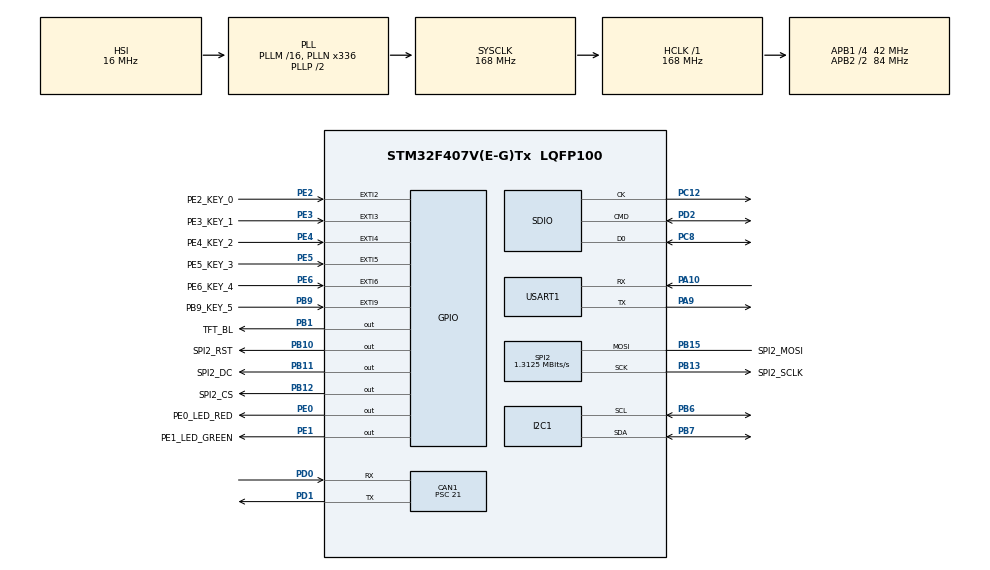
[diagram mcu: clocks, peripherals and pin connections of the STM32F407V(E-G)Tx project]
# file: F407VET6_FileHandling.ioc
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CAN1.BS1=CAN_BS1_2TQ
CAN1.CalculateBaudRate=500000
CAN1.CalculateTimeBit=2000
CAN1.CalculateTimeQuantum=500.0
CAN1.Mode=CAN_MODE_LOOPBACK
CAN1.Prescaler=21
Dma.Request0=SPI2_TX
Dma.Request1=SDIO_RX
Dma.Request2=SDIO_TX
Dma.SDIO_RX.1.Direction=DMA_PERIPH_TO_MEMORY
Dma.SDIO_RX.1.FIFOMode=DMA_FIFOMODE_ENABLE
Dma.SDIO_RX.1.FIFOThreshold=DMA_FIFO_THRESHOLD_FULL
Dma.SDIO_RX.1.Instance=DMA2_Stream3
Dma.SDIO_RX.1.MemBurst=DMA_MBURST_INC4
Dma.SDIO_RX.1.MemDataAlignment=DMA_MDATAALIGN_WORD
Dma.SDIO_RX.1.MemInc=DMA_MINC_ENABLE
Dma.SDIO_RX.1.Mode=DMA_PFCTRL
Dma.SDIO_RX.1.PeriphBurst=DMA_PBURST_INC4
Dma.SDIO_RX.1.PeriphDataAlignment=DMA_PDATAALIGN_WORD
Dma.SDIO_RX.1.PeriphInc=DMA_PINC_DISABLE
Dma.SDIO_RX.1.Priority=DMA_PRIORITY_LOW
Dma.SDIO_TX.2.Direction=DMA_MEMORY_TO_PERIPH
Dma.SDIO_TX.2.FIFOMode=DMA_FIFOMODE_ENABLE
Dma.SDIO_TX.2.FIFOThreshold=DMA_FIFO_THRESHOLD_FULL
Dma.SDIO_TX.2.Instance=DMA2_Stream6
Dma.SDIO_TX.2.MemBurst=DMA_MBURST_INC4
Dma.SDIO_TX.2.MemDataAlignment=DMA_MDATAALIGN_WORD
Dma.SDIO_TX.2.MemInc=DMA_MINC_ENABLE
Dma.SDIO_TX.2.Mode=DMA_PFCTRL
Dma.SDIO_TX.2.PeriphBurst=DMA_PBURST_INC4
Dma.SDIO_TX.2.PeriphDataAlignment=DMA_PDATAALIGN_WORD
Dma.SDIO_TX.2.PeriphInc=DMA_PINC_DISABLE
Dma.SDIO_TX.2.Priority=DMA_PRIORITY_LOW
Dma.SPI2_TX.0.Direction=DMA_MEMORY_TO_PERIPH
Dma.SPI2_TX.0.FIFOMode=DMA_FIFOMODE_DISABLE
Dma.SPI2_TX.0.Instance=DMA1_Stream4
Dma.SPI2_TX.0.MemDataAlignment=DMA_MDATAALIGN_BYTE
Dma.SPI2_TX.0.MemInc=DMA_MINC_ENABLE
Dma.SPI2_TX.0.Mode=DMA_NORMAL
Dma.SPI2_TX.0.PeriphDataAlignment=DMA_PDATAALIGN_BYTE
Dma.SPI2_TX.0.PeriphInc=DMA_PINC_DISABLE
Dma.SPI2_TX.0.Priority=DMA_PRIORITY_VERY_HIGH
I2C1.I2C_Mode=I2C_Fast
Mcu.Family=STM32F4
Mcu.Name=STM32F407V(E-G)Tx
Mcu.Package=LQFP100
NVIC.CAN1_RX0_IRQn=true\:0\:0\:false\:false\:true\:true\:true\:true
NVIC.CAN1_RX1_IRQn=true\:0\:0\:false\:false\:true\:true\:true\:true
NVIC.DMA1_Stream4_IRQn=true\:0\:0\:false\:false\:true\:false\:true\:true
NVIC.DMA2_Stream3_IRQn=true\:0\:0\:false\:false\:true\:false\:true\:true
NVIC.DMA2_Stream6_IRQn=true\:0\:0\:false\:false\:true\:false\:true\:true
NVIC.EXTI2_IRQn=true\:0\:0\:false\:false\:true\:true\:true\:true
NVIC.EXTI3_IRQn=true\:0\:0\:false\:false\:true\:true\:true\:true
NVIC.EXTI4_IRQn=true\:0\:0\:false\:false\:true\:true\:true\:true
NVIC.EXTI9_5_IRQn=true\:0\:0\:false\:false\:true\:true\:true\:true
NVIC.PriorityGroup=NVIC_PRIORITYGROUP_4
NVIC.SDIO_IRQn=true\:0\:0\:false\:false\:true\:true\:true\:true
NVIC.USART1_IRQn=true\:0\:0\:false\:false\:true\:true\:true\:true
PA10.Mode=Asynchronous
PA10.Signal=USART1_RX
PA13.GPIO_Label=TMS
PA13.Mode=Serial_Wire
PA13.Signal=SYS_JTMS-SWDIO
PA14.GPIO_Label=TCK
PA14.Mode=Serial_Wire
PA14.Signal=SYS_JTCK-SWCLK
PA9.Mode=Asynchronous
PA9.Signal=USART1_TX
PB1.GPIO_Label=TFT_BL
PB1.PinState=GPIO_PIN_RESET
PB1.Signal=GPIO_Output
PB10.GPIO_Label=SPI2_RST
PB10.Signal=GPIO_Output
PB11.GPIO_Label=SPI2_DC
PB11.Signal=GPIO_Output
PB12.GPIO_Label=SPI2_CS
PB12.Signal=GPIO_Output
PB13.GPIO_Label=SPI2_SCLK
PB13.Mode=Simplex_Bidirectional_Master
PB13.Signal=SPI2_SCK
PB15.GPIO_Label=SPI2_MOSI
PB15.Mode=Simplex_Bidirectional_Master
PB15.Signal=SPI2_MOSI
PB6.Mode=I2C
PB6.Signal=I2C1_SCL
PB7.Mode=I2C
PB7.Signal=I2C1_SDA
PB9.GPIO_Label=PB9_KEY_5
PB9.GPIO_ModeDefaultEXTI=GPIO_MODE_IT_FALLING
PB9.Signal=GPXTI9
PC10.Signal=SDIO_D2
PC11.Signal=SDIO_D3
PC12.Mode=SD_1_bit
PC12.Signal=SDIO_CK
PC8.Mode=SD_1_bit
PC8.Signal=SDIO_D0
PC9.Signal=SDIO_D1
PD0.Mode=CAN_Activate
PD0.Signal=CAN1_RX
PD1.Mode=CAN_Activate
PD1.Signal=CAN1_TX
PD2.Mode=SD_1_bit
PD2.Signal=SDIO_CMD
PE0.GPIO_Label=PE0_LED_RED
PE0.PinState=GPIO_PIN_SET
PE0.Signal=GPIO_Output
PE1.GPIO_Label=PE1_LED_GREEN
PE1.PinState=GPIO_PIN_SET
PE1.Signal=GPIO_Output
PE2.GPIO_Label=PE2_KEY_0
PE2.GPIO_ModeDefaultEXTI=GPIO_MODE_IT_FALLING
PE2.Signal=GPXTI2
PE3.GPIO_Label=PE3_KEY_1
PE3.GPIO_ModeDefaultEXTI=GPIO_MODE_IT_FALLING
PE3.Signal=GPXTI3
PE4.GPIO_Label=PE4_KEY_2
PE4.GPIO_ModeDefaultEXTI=GPIO_MODE_IT_FALLING
PE4.Signal=GPXTI4
PE5.GPIO_Label=PE5_KEY_3
PE5.GPIO_ModeDefaultEXTI=GPIO_MODE_IT_FALLING
PE5.Signal=GPXTI5
PE6.GPIO_Label=PE6_KEY_4
PE6.GPIO_ModeDefaultEXTI=GPIO_MODE_IT_FALLING
PE6.Signal=GPXTI6
PH0-OSC_IN.Mode=HSE-External-Oscillator
PH0-OSC_IN.Signal=RCC_OSC_IN
PH1-OSC_OUT.Mode=HSE-External-Oscillator
PH1-OSC_OUT.Signal=RCC_OSC_OUT
ProjectManager.HeapSize=0x200
ProjectManager.StackSize=0x400
ProjectManager.TargetToolchain=STM32CubeIDE
RCC.48MHZClocksFreq_Value=48000000
RCC.AHBFreq_Value=168000000
RCC.APB1CLKDivider=RCC_HCLK_DIV4
RCC.APB1Freq_Value=42000000
RCC.APB1TimFreq_Value=84000000
RCC.APB2CLKDivider=RCC_HCLK_DIV2
RCC.APB2Freq_Value=84000000
RCC.APB2TimFreq_Value=168000000
RCC.CortexFreq_Value=168000000
RCC.HCLKFreq_Value=168000000
RCC.HSE_VALUE=16000000
RCC.HSI_VALUE=16000000
RCC.LSE_VALUE=32768
RCC.PLLN=336
RCC.PLLQ=7
RCC.SYSCLKFreq_VALUE=168000000
RCC.SYSCLKSource=RCC_SYSCLKSOURCE_PLLCLK
RCC.VCOOutputFreq_Value=336000000
SPI2.BaudRatePrescaler=SPI_BAUDRATEPRESCALER_32
SPI2.CalculateBaudRate=1.3125 MBits/s
SPI2.Direction=SPI_DIRECTION_1LINE
SPI2.Mode=SPI_MODE_MASTER
SPI2.VirtualType=VM_MASTER
USART1.VirtualMode=VM_ASYNC
VP_FATFS_VS_SDIO.Mode=SDIO
board=custom

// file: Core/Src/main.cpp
/* USER CODE BEGIN Header */
/**
  ******************************************************************************
  * @file           : main.c
  * @brief          : Main program body
  ******************************************************************************
  * @attention
  *
  * Copyright (c) 2024 STMicroelectronics.
  * All rights reserved.
  *
  * This software is licensed under terms that can be found in the LICENSE file
  * in the root directory of this software component.
  * If no LICENSE file comes with this software, it is provided AS-IS.
  *
  ******************************************************************************
  */
/* USER CODE END Header */
#include "main.h"
#include "can.h"
#include "dma.h"
#include "fatfs.h"
#include "i2c.h"
#include "sdio.h"
#include "spi.h"
#include "usart.h"
#include "gpio.h"

/* USER CODE BEGIN Includes */
#include <iostream>
#include <sstream>
#include <vector>
#include "../Lib/DS3231/DS3231.h"
#include "../Lib/ILI9341/ILI9341.h"
#include "../Lib/ILI9341/fonts.h"
#include "../Lib/ILI9341/Image.h"
#include "../Lib/JPGEdecoder/jpgDecoder.h"
#include "../Lib/SerialDebug/UartRingBuffer.h"
#include "../Lib/Button/Button.h"
#include "../Lib/mySDCard/mySDCard.h"
/* USER CODE END Includes */

/* USER CODE BEGIN PTD */
typedef enum {
  P_FREEZE,
  P_OK,
  P_BACK,
  P_UP,
  P_DOWN,
  P_LEFT,
  P_RIGHT,
} user_move_t;

typedef enum {
  APP_SELECTING,
  APP_CANBUS,
  APP_SDCARD,
  APP_SET_DATETIME,
  APP_SET_THEME,
  APP_SIZE = 5,
} application_t;

/* USER CODE END PTD */

/* USER CODE BEGIN PD */
#define POINTER_CUR_POSITION ((Font_11x18.height * rowIndex) + 4)
#define POINTER_PREV_POSITION ((Font_11x18.height * prevRowIndex) + 4)
#define zDEBUG(msg)     do { Uart_sendstring(((std::string(msg)) + "\n").c_str()); } while(0)
#define UPDATE_POINTER  do { lcd->writeString(0, POINTER_PREV_POSITION, "  ", Font_11x18, FontColor, BGColor);  \
                        lcd->writeString(0, POINTER_CUR_POSITION, "->", Font_11x18, FontColor, BGColor); } while(0)

#define DELETE_DIALOG "-----------------------\n  | [L]: Delete [R]: No |\n  -----------------------\n"
#define MENU_UI       "---------SELECT APP----------\n  1. View CANbus\n  2. SDCard\n  3. Set datetime\n  4. Set theme\n"
/* USER CODE END PD */

/* USER CODE BEGIN PV */
uint16_t BGColor = ILI9341_BLACK;
uint16_t FontColor = ILI9341_WHITE;

uint8_t rowIndex = 1;
uint8_t prevRowIndex;
SDCard* file;
ILI9341* lcd;
JpgDecoder* jpgDec;
DS3231* rtc;
Time_t* time;
Button *btn_ok, *btn_up, *btn_down, *btn_left, *btn_right, *btn_back;

/* Application selection ---------------------------------------------------------------*/
application_t eApp = APP_SELECTING;

/* File handle ---------------------------------------------------------------*/
std::string filePath = "";
uint8_t maxPage;
uint8_t lastFileIndex;
uint8_t page = 1;

/* Text handle ---------------------------------------------------------------*/
std::string textFromFile;
uint16_t totalTextLine;
uint16_t lastTextLine = 1;
uint16_t startTextLine = 1;
uint16_t endTextLine = 13;

/* User moves & files handle -------------------------------------------------*/
user_move_t eUserMove = P_FREEZE;
file_type_t fileType = FTYP_DIR;
std::string selectedEntry;
bool buttonPressed = false;

/* USER CODE END PV */

void SystemClock_Config(void);

/* USER CODE BEGIN 0 */
bool jpegRender(int16_t x, int16_t y, uint16_t w, uint16_t h, uint16_t* bitmap) {
  if(y>=lcd->height()) return 0; // 0 - to stop decoding
  lcd->drawImage(x, y, w, h, bitmap);
  return 1; // 1 - to decode next block
}

void vUpdateLCDToSelectedDir(bool update) {
  if(update) {
    lcd->fillScreen(BGColor);
    std::string data;
    file->listEntryOfDir(filePath.c_str());
    file->listFilesOnPage(1, data);
    lcd->writeString(0, 4, data.c_str(), Font_11x18, FontColor, BGColor);
    zDEBUG(data);
  }
}

void vUpdateLCDToNextPage(bool update) {
  if(update) {
    lcd->fillScreen(BGColor);
    std::string data;
    file->listFilesOnPage(page, data);
    lcd->writeString(0, 4, data.c_str(), Font_11x18, FontColor, BGColor);
  }
}

file_type_t vPointerSDFile(user_move_t& um) {
  prevRowIndex = rowIndex;
  bool updateLCD = false;
  switch(um) {
    case P_FREEZE: return FTYP_DIR;
    case P_BACK: {
      if(filePath != "") {
        filePath = filePath.substr(0, filePath.find_last_of('/'));
        file->getPagesAndLastRow(filePath.c_str(), maxPage, lastFileIndex);
        vUpdateLCDToSelectedDir(true);
        rowIndex = 1;
        page = 1;
        UPDATE_POINTER;
      }
      else {
        eApp = APP_SELECTING;
         return FTYP_DIR;
      }
    } break;
    case P_UP: {
      if(rowIndex == 1) {
        if(1 == maxPage) {
          rowIndex = lastFileIndex;
        }
        else {
          page--;
          if(page == 0) {
            page = maxPage;
            rowIndex = lastFileIndex;
          } else rowIndex = 12;
          updateLCD = true;
        }
      } else rowIndex--;
    } break;
    case P_DOWN: {
      if((1 == maxPage) && (rowIndex == lastFileIndex)) {
        rowIndex = 1;
      }
      else if((page == maxPage) && (rowIndex == lastFileIndex)) {
        rowIndex = 1;
        page = 1;
        updateLCD = true;
      }
      else if(rowIndex == 12) {
        rowIndex = 1;
        page++;
        if(page > maxPage) page = 1;
        updateLCD = true;
      } else rowIndex++;
    } break;
    case P_OK: {
      selectedEntry.clear();
      selectedEntry += filePath; // include the path
      fileType = file->checkSelectedFileType(rowIndex, selectedEntry);
      // zDEBUG(selectedEntry);
      um = P_FREEZE;
      if(fileType == FTYP_DIR) {
        rowIndex = 1;
        page = 1;
        std::string rawDir;
        for(auto c : selectedEntry) {
        	if(c != '[' && c != ']') {
        		rawDir += c;
        	}
        }
        filePath.clear();
        filePath = rawDir;
        file->getPagesAndLastRow(filePath.c_str(), maxPage, lastFileIndex);
        vUpdateLCDToSelectedDir(true);
        UPDATE_POINTER;
      }
      return fileType;
    }
    case P_LEFT: { // If user is browsing files then hit button left, ask them whether they want to delete the selected file
      lcd->writeString(20, (Font_11x18.height)*(rowIndex+1.25), DELETE_DIALOG, Font_11x18, FontColor, BGColor);
      bool deleteFile = false;
      eUserMove = P_FREEZE;
      while(!deleteFile) {
        btn_back->handleButton();
        if(eUserMove == P_BACK) {
          if(filePath != "") {
          filePath = filePath.substr(0, filePath.find_last_of('/'));
          file->getPagesAndLastRow(filePath.c_str(), maxPage, lastFileIndex);
          vUpdateLCDToSelectedDir(true);
          rowIndex = 1;
          page = 1;
          UPDATE_POINTER;
          }
          else {
            eApp = APP_SELECTING;
          }
          um = P_FREEZE;
          return FTYP_DIR;
        }
        btn_left->handleButton();
        btn_right->handleButton();
        if(eUserMove == P_LEFT) {
          selectedEntry.clear();
          selectedEntry += filePath; // include the path
          file->checkSelectedFileType(rowIndex, selectedEntry);
          file->deleteFile(selectedEntry.c_str());
          lcd->fillScreen(BGColor);
          file->getPagesAndLastRow(filePath.c_str(), maxPage, lastFileIndex);
          vUpdateLCDToSelectedDir(true);
          rowIndex = 1;
          page = 1;
          deleteFile = true;
          UPDATE_POINTER;
          um = P_FREEZE;
          eUserMove = P_FREEZE;
          return FTYP_DIR;
        }
        else if(eUserMove == P_RIGHT) {
          lcd->fillScreen(BGColor);
          file->getPagesAndLastRow(filePath.c_str(), maxPage, lastFileIndex);
          vUpdateLCDToSelectedDir(true);
          rowIndex = 1;
          page = 1;
          UPDATE_POINTER;
          um = P_FREEZE;
          eUserMove = P_FREEZE;
          return FTYP_DIR;
        }
      }
    }
    case P_RIGHT: return FTYP_DIR;
  }
  zDEBUG(std::to_string(rowIndex));
  vUpdateLCDToNextPage(updateLCD);
  UPDATE_POINTER;
  um = P_FREEZE;
  return FTYP_DIR;
}

void vHandleFileBrowse(user_move_t um) {
  switch(fileType) {
    case FTYP_DIR: { // if user is browsing directory
      switch(vPointerSDFile(um)) {
        case FTYP_DIR: {
          // vPointerSDFile will handle browsing directory
          return;
        }
        case FTYP_TXT: { //if user select text file
          totalTextLine = 0;
          textFromFile.clear();
          file->readTextFromFile(selectedEntry, textFromFile, 1024, 1, 14);
          if(textFromFile.size() > 0) {
            std::stringstream ss(textFromFile);
            std::string line;
            while(getline(ss, line)) {
              totalTextLine++;
            }
            lcd->fillScreen(BGColor);
            lcd->writeString(0, 4, textFromFile.c_str(), Font_11x18, FontColor, BGColor);
          }
        } break;
        case FTYP_JPG: {
          jpgDec->show(0, 0, selectedEntry.c_str());
        } break;
      }
    }
    break;
    case FTYP_TXT: { // if user is reading text file
      switch(um) {
        case P_LEFT: break;
        case P_RIGHT: break;
        case P_OK:      break;
        case P_FREEZE:  break;
        case P_UP: {
          if(startTextLine > 1) {
            startTextLine-=13;
            endTextLine-=13;
            textFromFile.clear();
            file->readTextFromFile(selectedEntry, textFromFile, 1024, startTextLine, endTextLine);
            std::stringstream ss(textFromFile);
            std::string line;
            std::string showText;
            uint8_t lineCount = 0;
            while(getline(ss, line) && lineCount < endTextLine) {
                showText += line + "\n";
                lineCount++;
            }
            lcd->fillScreen(BGColor);
            lcd->writeString(0, 4, showText.c_str(), Font_11x18, FontColor, BGColor);
          }
        } break;
        case P_DOWN: {
          std::string check; // check if can scroll more
          file->readTextFromFile(selectedEntry, check, 1024, startTextLine+13, endTextLine+13);
          if(check.size() <= 0) {
            return;
          }
          else {
            startTextLine+=13;
            endTextLine+=13;
            textFromFile.clear();
            file->readTextFromFile(selectedEntry, textFromFile, 1024, startTextLine, endTextLine);
            std::stringstream ss(textFromFile);
            std::string line;
            std::string showText;
            uint8_t lineCount = 0;
            while(getline(ss, line) && lineCount < 13) {
            	showText += line + "\n";
            	lineCount++;
            }
            lcd->fillScreen(BGColor);
            lcd->writeString(0, 4, showText.c_str(), Font_11x18, FontColor, BGColor);
          }
        } break;
        case P_BACK: {
          fileType = FTYP_DIR;
          startTextLine = 1;
          endTextLine = 12;
          vUpdateLCDToNextPage(true);
          UPDATE_POINTER;
          break;
        }
      }
    }
    break;
    case FTYP_JPG: { // if user is viewing jpg file
      switch(um) {
        case P_LEFT: break;
        case P_RIGHT: break;
        case P_OK:      break;
        case P_FREEZE:  break;
        case P_UP:      break;
        case P_DOWN:    break;
        case P_BACK: {
          fileType = FTYP_DIR;
          vUpdateLCDToNextPage(true);
          UPDATE_POINTER;
          break;
        }
      }
    }
    break;
  }
}

void buttonCb(uint8_t id, Button_event_state_t e) {
	if(id == btn_ok->buttonId) {
		switch(e) {
		case BUTTON_RELEASED:
			zDEBUG("Button OK released!");
      buttonPressed = true;
      eUserMove = P_OK;
			break;
		default: break;
		}
	}
	else if(id == btn_up->buttonId) {
		switch(e) {
		case BUTTON_RELEASED:
      zDEBUG("Button UP released!");
      buttonPressed = true;
      eUserMove = P_UP;
			break;
		default: break;
		}
	}
	else if(id == btn_down->buttonId) {
		switch(e) {
		case BUTTON_RELEASED:
      zDEBUG("Button DOWN released!");
      buttonPressed = true;
      eUserMove = P_DOWN;
			break;
		default: break;
		}
	}
  else if(id == btn_back->buttonId) {
    switch(e) {
    case BUTTON_RELEASED:
      zDEBUG("Button BACK released!");
      buttonPressed = true;
      eUserMove = P_BACK;
      break;
    default: break;
    }
  }
  else if(id == btn_left->buttonId) {
    switch(e) {
    case BUTTON_RELEASED:
      zDEBUG("Button LEFT released!");
      buttonPressed = true;
      eUserMove = P_LEFT;
      break;
    default: break;
    }
  }
  else if(id == btn_right->buttonId) {
    switch(e) {
    case BUTTON_RELEASED:
      zDEBUG("Button RIGHT released!");
      buttonPressed = true;
      eUserMove = P_RIGHT;
      break;
    default: break;
    }
  }
}

void vShowMenu(void) {
  lcd->fillScreen(BGColor);
  std::string menu = MENU_UI;
  lcd->writeString(0, 4, menu.c_str(), Font_11x18, FontColor, BGColor);
  rowIndex = 1;
  UPDATE_POINTER;
}

void vPointerSelectApp(user_move_t& um) {
  prevRowIndex = rowIndex;
  switch(um) {
    case P_LEFT: break;
    case P_RIGHT: break;
    case P_FREEZE: return;
    case P_BACK: {
      // eApp = APP_SELECTING;
      // vSelectingApp();
    } break;
    case P_UP: {
      if(rowIndex == 1) rowIndex = APP_SIZE;
      else rowIndex--;
    } break;
    case P_DOWN: {
      if(rowIndex == APP_SIZE) rowIndex = 1;
      else rowIndex++;
    } break;
    case P_OK: {
      switch(rowIndex) {
        case 1: {
          eApp = APP_CANBUS;
          um = P_FREEZE;
          return;
        }
        case 2: {
          eApp = APP_SDCARD;
          um = P_FREEZE;
          return;
        }
        case 3: {
          eApp = APP_SET_DATETIME;
          um = P_FREEZE;
          return;
        }
        case 4: {
          eApp = APP_SET_THEME;
          um = P_FREEZE;
          return;
        }
      }
    } break;
  }
  UPDATE_POINTER;
  um = P_FREEZE;
}

void vAppSDCard(void) {
  file = new SDCard();
  file->getPagesAndLastRow(filePath.c_str(), maxPage, lastFileIndex);
  rowIndex = 1;
  { // debug
    std::string data;
    file->scanFiles(filePath.c_str(), data);
    zDEBUG(data);
  }
  vUpdateLCDToSelectedDir(true);
  UPDATE_POINTER;

  { // debug
    std::string data;
    file->getFilesMap(data);
    zDEBUG(data);
  }
  while(eApp == APP_SDCARD) {
    btn_left->handleButton();
    btn_ok->handleButton();
    btn_up->handleButton();
    btn_down->handleButton();
    btn_right->handleButton();
    btn_back->handleButton();
    if(buttonPressed) {
      buttonPressed = false;
      vHandleFileBrowse(eUserMove);
    }
  }
  delete file;
  file = nullptr;
}

void vAppCANBus(void) {
  lcd->fillScreen(BGColor);
  HAL_CAN_Start(&hcan1);
  HAL_CAN_ActivateNotification(&hcan1, CAN_IT_RX_FIFO0_MSG_PENDING);
  TxHeader.DLC = 8;
  TxHeader.ExtId = 0;
  TxHeader.IDE = CAN_ID_STD;
  TxHeader.RTR = CAN_RTR_DATA;
  TxHeader.StdId = 0x407;
  TxHeader.TransmitGlobalTime = DISABLE;

  uint32_t TxMailbox;
  uint8_t CANTxData[8] = {0};
  time = new Time_t {0};
  rtc = new DS3231(hi2c1);
  file = new SDCard();

  uint8_t i = 10;
  uint8_t j = 1;
  uint32_t interval = 0;
  while(eApp == APP_CANBUS) {
    btn_back->handleButton();
    if(eUserMove == P_BACK) {
      eApp = APP_SELECTING;
      /* reset CANRxData */
      for(uint8_t i = 0; i < 8; i++) {
        CANRxData[i] = 0;
      }
      delete file;
      file = nullptr;
      delete time;
      time = nullptr;
      delete rtc;
      rtc = nullptr;
      return;
    }
    if(HAL_GetTick() - interval >= 1000) {
      interval = HAL_GetTick();
      rtc->getDateTime(time);
    	std::string time_str;
    	time_str += std::to_string(time->Hour);
    	time_str += " : ";
    	time_str += std::to_string(time->Min);
    	time_str += " : ";
    	time_str += std::to_string(time->Sec);
    	CANTxData[0] = ++i;
    	CANTxData[1] = ++j;
    	HAL_CAN_AddTxMessage(&hcan1, &TxHeader, CANTxData, &TxMailbox);

    	std::string CAN_label = "CAN data received:";
    	std::string CAN_data1 = "data0: ";
    	CAN_data1 += std::to_string(CANRxData[0]);
    	std::string CAN_data2 = "data1: ";
    	CAN_data2 += std::to_string(CANRxData[1]);
    	lcd->writeString(0, 4, time_str.c_str(), Font_11x18, FontColor, BGColor);
    	lcd->writeString(0, (Font_11x18.height)+4, CAN_label.c_str(), Font_11x18, FontColor, BGColor);
    	lcd->writeString(0, ((Font_11x18.height)*2)+4, CAN_data1.c_str(), Font_11x18, FontColor, BGColor);
    	lcd->writeString(0, ((Font_11x18.height)*3)+4, CAN_data2.c_str(), Font_11x18, FontColor, BGColor);
      std::string strDT;

      rtc->getStringDateTime(strDT);
      strDT += " data1: "; strDT += std::to_string(CANRxData[0]); strDT += " data2:"; strDT += std::to_string(CANRxData[1]); strDT += "\n";
      file->writeToFile("CANBusdata.txt", strDT);
    }
  }
}

void vAppSetDateTime(void) {
  lcd->fillScreen(BGColor);
  std::map<uint8_t, std::string> hour = {{0, "00"}, {1, "01"}, {2, "02"}, {3, "03"}, {4, "04"}, {5, "05"}, {6, "06"}, {7, "07"}, {8, "08"}, {9, "09"}, {10, "10"}, {11, "11"}, {12, "12"},
                                        {13, "13"}, {14, "14"}, {15, "15"}, {16, "16"}, {17, "17"}, {18, "18"}, {19, "19"}, {20, "20"}, {21, "21"}, {22, "22"}, {23, "23"}};
  std::map<uint8_t, std::string> sec_min = {{0, "00"}, {1, "01"}, {2, "02"}, {3, "03"}, {4, "04"}, {5, "05"}, {6, "06"}, {7, "07"}, {8, "08"}, {9, "09"}, {10, "10"}, {11, "11"}, {12, "12"},
                                        {13, "13"}, {14, "14"}, {15, "15"}, {16, "16"}, {17, "17"}, {18, "18"}, {19, "19"}, {20, "20"}, {21, "21"}, {22, "22"}, {23, "23"}, {24, "24"}, {25, "25"},
                                        {26, "26"}, {27, "27"}, {28, "28"}, {29, "29"}, {30, "30"}, {31, "31"}, {32, "32"}, {33, "33"}, {34, "34"}, {35, "35"}, {36, "36"}, {37, "37"}, {38, "38"},
                                        {39, "39"}, {40, "40"}, {41, "41"}, {42, "42"}, {43, "43"}, {44, "44"}, {45, "45"}, {46, "46"}, {47, "47"}, {48, "48"}, {49, "49"}, {50, "50"}, {51, "51"},
                                        {52, "52"}, {53, "53"}, {54, "54"}, {55, "55"}, {56, "56"}, {57, "57"}, {58, "58"}, {59, "59"}};
  std::map<uint8_t, std::string> date = {{1, "01"}, {2, "02"}, {3, "03"}, {4, "04"}, {5, "05"}, {6, "06"}, {7, "07"}, {8, "08"}, {9, "09"}, {10, "10"}, {11, "11"}, {12, "12"}, {13, "13"},
                                        {14, "14"}, {15, "15"}, {16, "16"}, {17, "17"}, {18, "18"}, {19, "19"}, {20, "20"}, {21, "21"}, {22, "22"}, {23, "23"}, {24, "24"}, {25, "25"}, {26, "26"},
                                        {27, "27"}, {28, "28"}, {29, "29"}, {30, "30"}, {31, "31"}};
  std::map<uint8_t, std::string> month = {{1, "01"}, {2, "02"}, {3, "03"}, {4, "04"}, {5, "05"}, {6, "06"}, {7, "07"}, {8, "08"}, {9, "09"}, {10, "10"}, {11, "11"}, {12, "12"}};
  std::map<uint8_t, std::string> year = {{24, "2024"} , {25, "2025"}, {26, "2026"}, {27, "2027"}, {28, "2028"}, {29, "2029"}, {30, "2030"}, {31, "2031"}, {32, "2032"}, {33, "2033"},
                                        {34, "2034"}, {35, "2035"}, {36, "2036"}, {37, "2037"}, {38, "2038"}, {39, "2039"}, {40, "2040"}, {41, "2041"}, {42, "2042"}, {43, "2043"}, {44, "2044"},
                                        {45, "2045"}};
  std::map<uint8_t, std::string> dow = {{1, "Mon"}, {2, "Tue"}, {3, "Wed"}, {4, "Thu"}, {5, "Fri"}, {6, "Sat"}, {7, "Sun"}};

#define DOW_POSX    (40)
#define HOUR_POSX   (unsigned char)(DOW_POSX + Font_16x26.width*4)
#define MINUTE_POSX (unsigned char)(HOUR_POSX + Font_16x26.width*3)
#define SECOND_POSX (unsigned char)(MINUTE_POSX + Font_16x26.width*3)
#define DATE_POSX   (unsigned char)(DOW_POSX + Font_16x26.width)
#define MONTH_POSX  (unsigned char)(DATE_POSX + Font_16x26.width*3)
#define YEAR_POSX   (unsigned char)(MONTH_POSX + Font_16x26.width*3)

#define DOW_POSY    (unsigned char)(Font_16x26.height+4)
#define HOUR_POSY   DOW_POSY
#define MINUTE_POSY DOW_POSY
#define SECOND_POSY DOW_POSY
#define DATE_POSY   (unsigned char)(DOW_POSY + (Font_16x26.height+4))
#define MONTH_POSY  DATE_POSY
#define YEAR_POSY   DATE_POSY

#define FLASH_SELECTION(x, y, str, blank) (flash ? lcd->writeString(x, y, str.c_str(), Font_16x26, FontColor, BGColor) : lcd->writeString(x, y, blank.c_str(), Font_16x26, FontColor, BGColor))

  typedef enum {
    SEL_DOW,
    SEL_HOUR,
    SEL_MINUTE,
    SEL_SECOND,
    SEL_DATE,
    SEL_MONTH,
    SEL_YEAR,
  } selecting_obj_t;

  rtc = new DS3231(hi2c1);
  Time_t* pTimeTemp = new Time_t{0};
  rtc->getDateTime(pTimeTemp);
  uint32_t interval = 0;
  bool flash = false;
  uint16_t xPos = DOW_POSX;
  uint16_t yPos = DOW_POSY;
  std::vector<uint8_t> vXPos = {DOW_POSX, HOUR_POSX, MINUTE_POSX, SECOND_POSX, DATE_POSX, MONTH_POSX, YEAR_POSX};
  std::vector<uint8_t> vYPos = {DOW_POSY, HOUR_POSY, MINUTE_POSY, SECOND_POSY, DATE_POSY, MONTH_POSY, YEAR_POSY};
  std::map<uint8_t, std::string> mpStr = {{SEL_DOW, dow[pTimeTemp->DaysOfWeek]}, {SEL_HOUR, hour[pTimeTemp->Hour]}, {SEL_MINUTE, sec_min[pTimeTemp->Min]}, {SEL_SECOND, sec_min[pTimeTemp->Sec]}, {SEL_DATE, date[pTimeTemp->Date]}, {SEL_MONTH, month[pTimeTemp->Month]}, {SEL_YEAR, year[pTimeTemp->Year]}};
  uint8_t i = 0;
  std::string str = dow[pTimeTemp->DaysOfWeek];
  std::string blank = "   ";
  lcd->writeString(0, 4, "Set date and time", Font_16x26, FontColor, BGColor);
  lcd->writeString(DOW_POSX, DOW_POSY, dow[pTimeTemp->DaysOfWeek].c_str(), Font_16x26, FontColor, BGColor);
  lcd->writeString(HOUR_POSX, HOUR_POSY, (hour[pTimeTemp->Hour] + ":").c_str(), Font_16x26, FontColor, BGColor);
  lcd->writeString(MINUTE_POSX, MINUTE_POSY, (sec_min[pTimeTemp->Min] + ":").c_str(), Font_16x26, FontColor, BGColor);
  lcd->writeString(SECOND_POSX, SECOND_POSY, sec_min[pTimeTemp->Sec].c_str(), Font_16x26, FontColor, BGColor);
  lcd->writeString(DATE_POSX, DATE_POSY, (date[pTimeTemp->Date] + "-").c_str(), Font_16x26, FontColor, BGColor);
  lcd->writeString(MONTH_POSX, MONTH_POSY, (month[pTimeTemp->Month] + "-").c_str(), Font_16x26, FontColor, BGColor);
  lcd->writeString(YEAR_POSX, YEAR_POSY, year[pTimeTemp->Year].c_str(), Font_16x26, FontColor, BGColor);
  while(eApp == APP_SET_DATETIME) {
    btn_back->handleButton();
    if(eUserMove == P_BACK) {
      eApp = APP_SELECTING;
      delete pTimeTemp;
      pTimeTemp = nullptr;
      delete rtc;
      rtc = nullptr;
      return;
    }
    if(HAL_GetTick() - interval >= 500) {
      interval = HAL_GetTick();
      flash = !flash;
      FLASH_SELECTION(xPos, yPos, str, blank);
    }
    btn_ok->handleButton();
    btn_left->handleButton();
    btn_right->handleButton();
    btn_up->handleButton();
    btn_down->handleButton();

    if (eUserMove != P_FREEZE) {
      interval = 0;
      switch (eUserMove) {
        case P_BACK:    break;
        case P_FREEZE:  break;
        case P_OK: {
          rtc->setDateTime(pTimeTemp);
          lcd->writeString(40, 120, "SAVED!", Font_16x26, FontColor, BGColor);
        } break;
        case P_LEFT : {
          lcd->writeString(vXPos[i], vYPos[i], mpStr[i].c_str(), Font_16x26, FontColor, BGColor);
          i == 0 ? i = 6 : --i;
          str = mpStr[i];
        } break;
        case P_RIGHT: {
          lcd->writeString(vXPos[i], vYPos[i], mpStr[i].c_str(), Font_16x26, FontColor, BGColor);
          i == 6 ? i = 0 : ++i;
          str = mpStr[i];
        } break;
        case P_UP: {
          switch(i) {
            case SEL_DOW: {
                xPos = DOW_POSX;
                yPos = DOW_POSY;
                ++(pTimeTemp->DaysOfWeek);
                if (pTimeTemp->DaysOfWeek == 8) pTimeTemp->DaysOfWeek = 1;
                str = dow[pTimeTemp->DaysOfWeek];
              } break;
            case SEL_HOUR: {
                xPos = HOUR_POSX;
                yPos = HOUR_POSY;
                ++(pTimeTemp->Hour);
                if (pTimeTemp->Hour == 24) pTimeTemp->Hour = 0;
                str = hour[pTimeTemp->Hour];
            } break;
            case SEL_MINUTE: {
                xPos = MINUTE_POSX;
                yPos = MINUTE_POSY;
                ++(pTimeTemp->Min);
                if (pTimeTemp->Min == 60) pTimeTemp->Min = 0;
                str = sec_min[pTimeTemp->Min];
            } break;
            case SEL_SECOND: {
                xPos = SECOND_POSX;
                yPos = SECOND_POSY;
                ++(pTimeTemp->Sec);
                if (pTimeTemp->Sec == 60) pTimeTemp->Sec = 0;
                str = sec_min[pTimeTemp->Sec];
            } break;
            case SEL_DATE: {
                xPos = DATE_POSX;
                yPos = DATE_POSY;
                ++(pTimeTemp->Date);
                if (pTimeTemp->Date == 32) pTimeTemp->Date = 1;
                str = date[pTimeTemp->Date];
            } break;
            case SEL_MONTH: {
                xPos = MONTH_POSX;
                yPos = MONTH_POSY;
                ++(pTimeTemp->Month);
                if (pTimeTemp->Month == 13) pTimeTemp->Month = 1;
                str = month[pTimeTemp->Month];
            } break;
            case SEL_YEAR: {
                xPos = YEAR_POSX;
                yPos = YEAR_POSY;
                ++(pTimeTemp->Year);
                if (pTimeTemp->Year == 46) pTimeTemp->Year = 24;
                str = year[pTimeTemp->Year];
            } break;
          }
        } break;
        case P_DOWN: {
          switch(i) {
            case SEL_DOW: {
                xPos = DOW_POSX;
                yPos = DOW_POSY;
                --(pTimeTemp->DaysOfWeek);
                if (pTimeTemp->DaysOfWeek == 0) pTimeTemp->DaysOfWeek = 7;
                str = dow[pTimeTemp->DaysOfWeek];
              } break;
            case SEL_HOUR: {
                xPos = HOUR_POSX;
                yPos = HOUR_POSY;
                --(pTimeTemp->Hour);
                if (pTimeTemp->Hour == 0) pTimeTemp->Hour = 23;
                str = hour[pTimeTemp->Hour];
            } break;
            case SEL_MINUTE: {
                xPos = MINUTE_POSX;
                yPos = MINUTE_POSY;
                --(pTimeTemp->Min);
                if (pTimeTemp->Min == 0) pTimeTemp->Min = 59;
                str = sec_min[pTimeTemp->Min];
            } break;
            case SEL_SECOND: {
                xPos = SECOND_POSX;
                yPos = SECOND_POSY;
                --(pTimeTemp->Sec);
                if (pTimeTemp->Sec == 0) pTimeTemp->Sec = 59;
                str = sec_min[pTimeTemp->Sec];
            } break;
            case SEL_DATE: {
                xPos = DATE_POSX;
                yPos = DATE_POSY;
                --(pTimeTemp->Date);
                if (pTimeTemp->Date == 0) pTimeTemp->Date = 31;
                str = date[pTimeTemp->Date];
            } break;
            case SEL_MONTH: {
                xPos = MONTH_POSX;
                yPos = MONTH_POSY;
                --(pTimeTemp->Month);
                if (pTimeTemp->Month == 0) pTimeTemp->Month = 12;
                str = month[pTimeTemp->Month];
            } break;
            case SEL_YEAR: {
                xPos = YEAR_POSX;
                yPos = YEAR_POSY;
                --(pTimeTemp->Year);
                if (pTimeTemp->Year == 23) pTimeTemp->Year = 45;
                str = year[pTimeTemp->Year];
            } break;
          }
        } break;
        default:
          break;
      }
      xPos = vXPos[i];
      yPos = vYPos[i];
      blank.resize(str.size(), ' ');
      mpStr[i] = str;
      eUserMove = P_FREEZE;
    }
  }
}

void vAppSetTheme(void) {
  rowIndex = 1;
  prevRowIndex = rowIndex;
  lcd->fillScreen(BGColor);
  lcd->writeString(0, 4, "  Set theme", Font_16x26, FontColor, BGColor);
  lcd->writeString(0, Font_16x26.height + 4, "  1. Dark", Font_16x26, FontColor, BGColor);
  lcd->writeString(0, (Font_16x26.height)*2 + 4, "  2. Light", Font_16x26, FontColor, BGColor);
  lcd->writeString(0, (Font_16x26.height)*3 + 4, "  3. Color", Font_16x26, FontColor, BGColor);
  lcd->writeString(0, (Font_16x26.height)*4 + 4, "  4. Sport", Font_16x26, FontColor, BGColor);
  lcd->writeString(0, (Font_16x26.height * rowIndex) + 4, "->", Font_16x26, FontColor, BGColor);
  while(eApp == APP_SET_THEME) {
    btn_back->handleButton();
    if(eUserMove == P_BACK) {
      eApp = APP_SELECTING;
      return;
    }
    prevRowIndex = rowIndex;
    btn_up->handleButton();
    btn_down->handleButton();
    btn_ok->handleButton();
    switch(eUserMove) {
      case P_UP: {
        if(rowIndex == 1) rowIndex = 4;
        else rowIndex--;
      } break;
      case P_DOWN: {
        if(rowIndex == 4) rowIndex = 1;
        else rowIndex++;
      } break;
      case P_OK: {
        switch(rowIndex) {
          case 1: {
            BGColor = ILI9341_BLACK;
            FontColor = ILI9341_WHITE;
          } break;
          case 2: {
            BGColor = ILI9341_WHITE;
            FontColor = ILI9341_BLACK;
          } break;
          case 3: {
            BGColor = ILI9341_BLUE;
            FontColor = ILI9341_WHITE;
          } break;
          case 4: {
            BGColor = ILI9341_BLACK;
            FontColor = ILI9341_RED;
          } break;
        }
      } break;
    }
    if(eUserMove == P_OK) {
      lcd->fillScreen(BGColor);
      lcd->writeString(0, 4, "  Set theme", Font_16x26, FontColor, BGColor);
      lcd->writeString(0, Font_16x26.height + 4, "  1. Dark", Font_16x26, FontColor, BGColor);
      lcd->writeString(0, (Font_16x26.height)*2 + 4, "  2. Light", Font_16x26, FontColor, BGColor);
      lcd->writeString(0, (Font_16x26.height)*3 + 4, "  3. Color", Font_16x26, FontColor, BGColor);
      lcd->writeString(0, (Font_16x26.height)*4 + 4, "  4. Sport", Font_16x26, FontColor, BGColor);
    }
    if(eUserMove != P_FREEZE) {
      lcd->writeString(0, (Font_16x26.height * prevRowIndex) + 4, "  ", Font_16x26, FontColor, BGColor);
      lcd->writeString(0, (Font_16x26.height * rowIndex) + 4, "->", Font_16x26, FontColor, BGColor);
    }
    eUserMove = P_FREEZE;
  }
}
/* USER CODE END 0 */

extern "C" int main(void) {

  /* MCU Configuration--------------------------------------------------------*/

  /* Reset of all peripherals, Initializes the Flash interface and the Systick. */
  HAL_Init();

  /* Configure the system clock */
  SystemClock_Config();

  /* Initialize all configured peripherals */
  MX_GPIO_Init();
  MX_DMA_Init();
  MX_I2C1_Init();
  MX_SPI2_Init();
  MX_CAN1_Init();
  MX_SDIO_SD_Init();
  MX_FATFS_Init();
  MX_USART1_UART_Init();
  /* USER CODE BEGIN 2 */
  Ringbuffer_init();
  lcd = new ILI9341(hspi2,
		  SPI2_CS_GPIO_Port, SPI2_CS_Pin,
		  SPI2_DC_GPIO_Port, SPI2_DC_Pin,
		  SPI2_RST_GPIO_Port, SPI2_RST_Pin);
  jpgDec = new JpgDecoder(jpegRender);
  jpgDec->setSwapBytes(true);

  btn_ok = new Button(GPIOE, PE4_KEY_2_Pin, BUTTON_ACTIVE_LOW, buttonCb);
  btn_up = new Button(GPIOE, PE6_KEY_4_Pin, BUTTON_ACTIVE_LOW, buttonCb);
  btn_down = new Button(GPIOE, PE3_KEY_1_Pin, BUTTON_ACTIVE_LOW, buttonCb);
  btn_left = new Button(GPIOE, PE2_KEY_0_Pin, BUTTON_ACTIVE_LOW, buttonCb);
  btn_right = new Button(GPIOE, PE5_KEY_3_Pin, BUTTON_ACTIVE_LOW, buttonCb);
  btn_back = new Button(GPIOB, PB9_KEY_5_Pin, BUTTON_ACTIVE_LOW, buttonCb);

  lcd->init();
  lcd->fillScreen(BGColor);
  /* USER CODE END 2 */

  /* Infinite loop */
  while (1) {
    /* USER CODE BEGIN 3 */
    vShowMenu();
    /* User have to select the application first*/
    while(eApp == APP_SELECTING) {
      btn_left->handleButton();
      btn_ok->handleButton();
      btn_up->handleButton();
      btn_down->handleButton();
      btn_right->handleButton();
      btn_back->handleButton();
      if(buttonPressed) {
        buttonPressed = false;
        vPointerSelectApp(eUserMove);
      }
    }

    switch(eApp) {
      case APP_SELECTING: break;
      case APP_SIZE: break;
      case APP_SDCARD: vAppSDCard(); break;
      case APP_CANBUS: vAppCANBus(); break;
      case APP_SET_DATETIME: vAppSetDateTime(); break;
      case APP_SET_THEME: vAppSetTheme(); break;
    }
  }
  /* USER CODE END 3 */

  return 0;
}

void SystemClock_Config(void)
{
  RCC_OscInitTypeDef RCC_OscInitStruct = {0};
  RCC_ClkInitTypeDef RCC_ClkInitStruct = {0};

  /** Configure the main internal regulator output voltage
  */
  __HAL_RCC_PWR_CLK_ENABLE();
  __HAL_PWR_VOLTAGESCALING_CONFIG(PWR_REGULATOR_VOLTAGE_SCALE1);

  /** Initializes the RCC Oscillators according to the specified parameters
  * in the RCC_OscInitTypeDef structure.
  */
  RCC_OscInitStruct.OscillatorType = RCC_OSCILLATORTYPE_HSI;
  RCC_OscInitStruct.HSIState = RCC_HSI_ON;
  RCC_OscInitStruct.HSICalibrationValue = RCC_HSICALIBRATION_DEFAULT;
  RCC_OscInitStruct.PLL.PLLState = RCC_PLL_ON;
  RCC_OscInitStruct.PLL.PLLSource = RCC_PLLSOURCE_HSI;
  RCC_OscInitStruct.PLL.PLLM = 16;
  RCC_OscInitStruct.PLL.PLLN = 336;
  RCC_OscInitStruct.PLL.PLLP = RCC_PLLP_DIV2;
  RCC_OscInitStruct.PLL.PLLQ = 7;
  if (HAL_RCC_OscConfig(&RCC_OscInitStruct) != HAL_OK)
  {
    Error_Handler();
  }

  /** Initializes the CPU, AHB and APB buses clocks
  */
  RCC_ClkInitStruct.ClockType = RCC_CLOCKTYPE_HCLK|RCC_CLOCKTYPE_SYSCLK
                              |RCC_CLOCKTYPE_PCLK1|RCC_CLOCKTYPE_PCLK2;
  RCC_ClkInitStruct.SYSCLKSource = RCC_SYSCLKSOURCE_PLLCLK;
  RCC_ClkInitStruct.AHBCLKDivider = RCC_SYSCLK_DIV1;
  RCC_ClkInitStruct.APB1CLKDivider = RCC_HCLK_DIV4;
  RCC_ClkInitStruct.APB2CLKDivider = RCC_HCLK_DIV2;

  if (HAL_RCC_ClockConfig(&RCC_ClkInitStruct, FLASH_LATENCY_5) != HAL_OK)
  {
    Error_Handler();
  }
}

void Error_Handler(void)
{
  __disable_irq();
  while (1)
  {
  }
}
